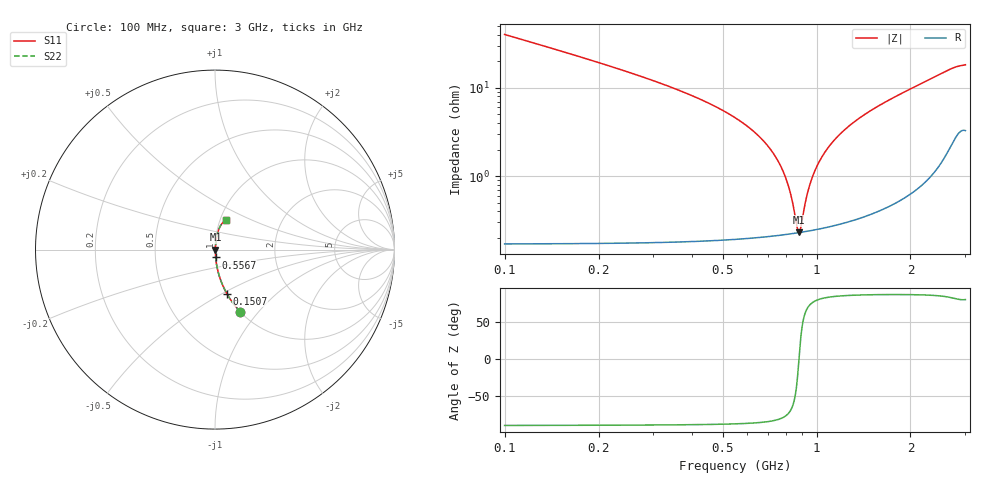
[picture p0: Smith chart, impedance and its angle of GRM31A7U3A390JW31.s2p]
!Murata Part Number: GRM31A7U3A390JW31
!These Parameters are Measured in Series Mode Connection
!Data Generated on Mar 30, 2021
!  o--ll--o
!Port1  Port2
!  o------o
!Operation Temp=25[degC], DC Bias Voltage=0[V]
!Freq. Start=100[MHz] Stop=3[GHz] 401[Steps]
# Hz S RI R 50
!Freq.(Hz) S11(Real) S11(Imag) S21(Real) S21(Imag) S12(Real) S12(Imag) S22(Real) S22(Imag)
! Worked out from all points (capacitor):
!   401 points, 100 MHz to 3 GHz, reference 50 ohm
!   read as one part in series: C = 39 pF near 114.5 MHz
!   lowest |Z| = 230 mohm at 875.8 MHz (marker M1)
!   series resonance near 878.5 MHz, so ESL is about 840 pH
!   S11 on the Smith chart (normalised r, x): 100 MHz: 1.00, -0.81; 150.8 MHz: 1.00, -0.53; 556.8 MHz: 1.00, -0.09; 3 GHz: 1.07, +0.36
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1e8  0.1407 -0.3456  0.8593 0.3456  0.8593 0.3456  0.1407 -0.3456
1.5075e8  0.066 -0.2451  0.934 0.2451  0.934 0.2451  0.066 -0.2451
2.16e8  0.0322 -0.1717  0.9678 0.1717  0.9678 0.1717  0.0322 -0.1717
2.9575e8  0.0165 -0.1204  0.9835 0.1204  0.9835 0.1204  0.0165 -0.1204
5.5675e8  0.00386 -0.044  0.9961 0.044  0.9961 0.044  0.00386 -0.044
5.8575e8  0.00346 -0.0389  0.9965 0.0389  0.9965 0.0389  0.00346 -0.0389
6.945e8  0.00255 -0.0222  0.9975 0.0222  0.9975 0.0222  0.00255 -0.0222
7.67e8  0.0023 -0.0128  0.9977 0.0128  0.9977 0.0128  0.0023 -0.0128
8.1775e8  0.00224 -0.00676  0.9978 0.00676  0.9978 0.00676  0.00224 -0.00676
8.6125e8  0.00226 -0.00187  0.9977 0.00187  0.9977 0.00187  0.00226 -0.00187
8.7575e8  0.00228 -0.000296  0.9977 0.000296  0.9977 0.000296  0.00228 -0.000296
8.9025e8  0.0023 0.00126  0.9977 -0.00126  0.9977 -0.00126  0.0023 0.00126
9.265e8  0.00238 0.00505  0.9976 -0.00505  0.9976 -0.00505  0.00238 0.00505
9.6275e8  0.00249 0.00872  0.9975 -0.00872  0.9975 -0.00872  0.00249 0.00872
1.0135e9  0.00268 0.0137  0.9973 -0.0137  0.9973 -0.0137  0.00268 0.0137
1.0715e9  0.00297 0.0191  0.997 -0.0191  0.997 -0.0191  0.00297 0.0191
1.1585e9  0.0035 0.0269  0.9965 -0.0269  0.9965 -0.0269  0.0035 0.0269
1.26e9  0.00428 0.0357  0.9957 -0.0357  0.9957 -0.0357  0.00428 0.0357
1.55e9  0.0074 0.0592  0.9926 -0.0592  0.9926 -0.0592  0.0074 0.0592
2.03575e9  0.0162 0.0979  0.9838 -0.0979  0.9838 -0.0979  0.0162 0.0979
2.5215e9  0.0343 0.1389  0.9657 -0.1389  0.9657 -0.1389  0.0343 0.1389
3e9  0.0602 0.1636  0.9398 -0.1636  0.9398 -0.1636  0.0602 0.1636
